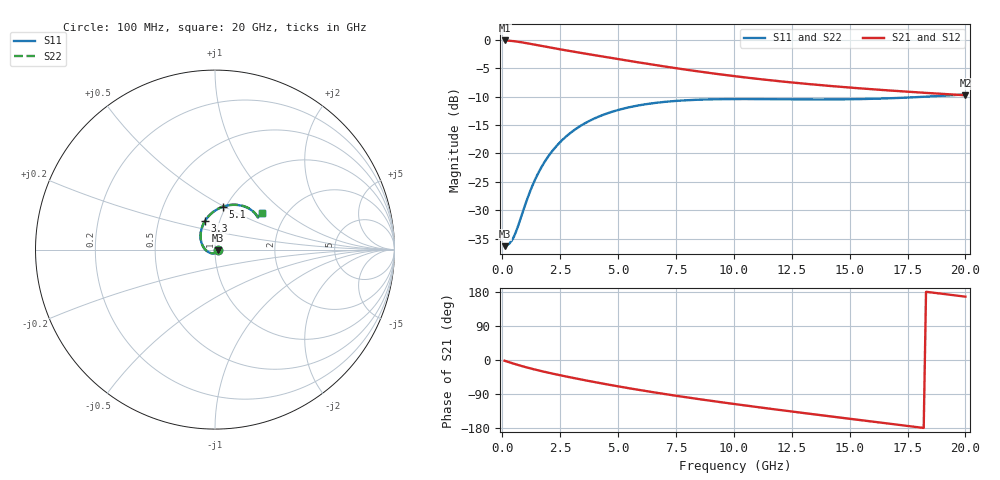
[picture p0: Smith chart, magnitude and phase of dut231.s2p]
! Touchstone file exported from HFSS 2023.1.0
!  File:  D:/Users/fzz/RDL_TSV/temp_RDL_TSV_231_1778758612.aedt
!  Generated:  7:46:40 %x4E0B%x5348  5%x6708 14, 2026
!  Design:  RDL_TSV
!  Project:  temp_RDL_TSV_231_1778758612
!  Setup:  Setup1
!  Solution:  Sweep
! Variables:
!  dtsv = 17.68um
!  hbump = 3um
!  htsv = 73.64um
!  ldown = 421.54um
!  lrdl = 300um
!  p = 40
!  p1 = 58.87um
!  rhole = 10um
!  subl = 2464.62um
!  t = 450um
!  tdown = 4.83um
!  trdl = 2.28um
!  viad = 10um
!  wdown = 18.79um
!  wrdl = 18.78um
!  xbump = 18um
# GHz S MA R 50.000000
! Terminal data exported
! Port[1] = TM1_1_T1
! Port[2] = TM1_4_T1
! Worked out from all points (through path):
!   200 points, 100 MHz to 20 GHz, reference 50 ohm
!   highest |S21| = -0.14 dB at 100 MHz (marker M1); lowest = -9.8 dB at 20 GHz (marker M2)
!   group delay of S21, straight-line fit = 24.9 ps
!   lowest |S11| = -36.3 dB at 100 MHz (marker M3), VSWR 1.03, Z = 51.5 - j0.434 ohm
!   |S11| at or under -10 dB: start of sweep to 18.43 GHz
!   |S22| runs from -36.3 to -9.6 dB; largest |S21 - S12| = 7.9e-15
!   S11 on the Smith chart (normalised r, x): 100 MHz: 1.03, -0.01; 3.3 GHz: 0.85, +0.28; 5.1 GHz: 0.97, +0.49; 20 GHz: 1.52, +0.69
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0.1  0.01527 -16.0  0.9841 -2.0  0.9841 -2.0  0.01527 -16.0
! Gamma 0 0 0 0
! Port Impedance 50 0 50 0
0.3  0.01606 -49.6  0.9786 -6.0  0.9786 -6.0  0.01605 -49.6
0.5  0.01849 -84.7  0.9693 -9.8  0.9693 -9.8  0.01849 -84.8
0.7  0.02353 -116.7  0.9572 -13.5  0.9572 -13.5  0.02353 -116.8
0.9  0.0312 -142.3  0.9431 -17.0  0.9431 -17.0  0.03123 -142.4
1.3  0.05193 -177.6  0.9118 -23.5  0.9118 -23.5  0.05202 -177.7
1.5  0.0638 169.7  0.8958 -26.6  0.8958 -26.6  0.06394 169.6
1.8  0.08239 154.4  0.8723 -30.9  0.8723 -30.9  0.08259 154.4
2.1  0.1012 142.1  0.8499 -35.0  0.8499 -35.0  0.1015 142.0
2.5  0.1257 128.7  0.8218 -40.3  0.8218 -40.3  0.126 128.7
3.3  0.1705 108.5  0.7706 -50.2  0.7706 -50.2  0.171 108.5
3.5  0.1805 104.4  0.7585 -52.6  0.7585 -52.6  0.1811 104.4
4.2  0.2119 91.9  0.7182 -60.7  0.7182 -60.7  0.2126 91.9
5.1  0.2437 79.2  0.67 -70.6  0.67 -70.6  0.2445 79.2
6.8  0.2807 61.9  0.5898 -87.8  0.5898 -87.8  0.2817 61.9
8.4  0.296 51.1  0.528 -102.4  0.528 -102.4  0.2971 51.1
10.1  0.3004 43.6  0.4756 -116.8  0.4756 -116.8  0.3015 43.7
11.7  0.2995 39.5  0.4367 -129.7  0.4367 -129.7  0.3007 39.5
13.4  0.298 37.4  0.404 -142.9  0.404 -142.9  0.2991 37.4
15  0.2991 36.9  0.3792 -155.1  0.3792 -155.1  0.3003 36.8
16.7  0.3049 37.2  0.3575 -168.0  0.3575 -168.0  0.3061 37.2
20  0.3302 37.8  0.3244 167.2  0.3244 167.2  0.3313 37.8
